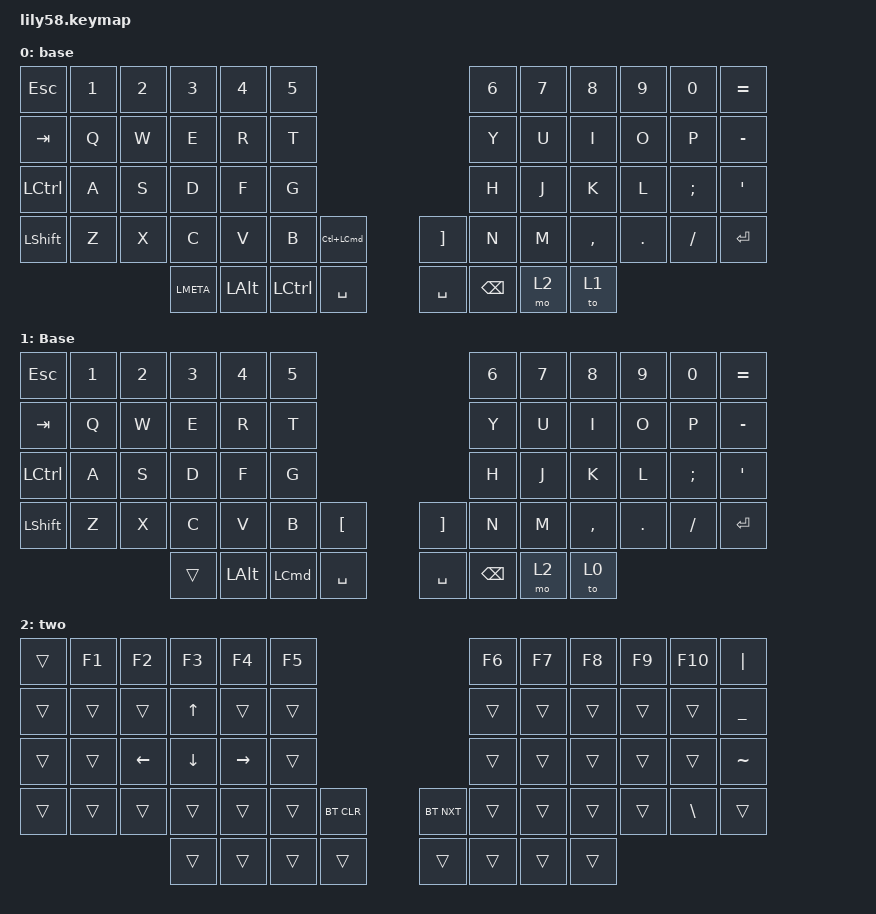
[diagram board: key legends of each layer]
/*
 * Copyright (c) 2020 The ZMK Contributors
 *
 * SPDX-License-Identifier: MIT
 */

#include <behaviors.dtsi>
#include <dt-bindings/zmk/bt.h>
#include <dt-bindings/zmk/keys.h>

/ {
    combos {
        compatible = "zmk,combos";

        leftbackspace {
            bindings = <&kp BACKSPACE>;
            key-positions = <37 28>;
        };
    };

    keymap {
        compatible = "zmk,keymap";

        zero {
            // ------------------------------------------------------------------------------------------------------------
            // |  ESC  |  1  |  2  |  3   |  4   |  5   |                   |  6   |  7    |  8    |  9   |   0   |   `   |
            // |  TAB  |  Q  |  W  |  E   |  R   |  T   |                   |  Y   |  U    |  I    |  O   |   P   |   -   |
            // |  CTRL |  A  |  S  |  D   |  F   |  G   |                   |  H   |  J    |  K    |  L   |   ;   |   '   |
            // | SHIFT |  Z  |  X  |  C   |  V   |  B   |   "["  |  |  "]"  |  N   |  M    |  ,    |  .   |   /   | SHIFT |
            //                     | ALT  | GUI  | LOWER|  SPACE |  | ENTER | RAISE| BSPC  | GUI   |

            display-name = "base";
            bindings = <
&kp ESC    &kp N1  &kp N2  &kp N3     &kp N4        &kp N5                                               &kp N6         &kp N7  &kp N8     &kp N9   &kp N0    &kp EQUAL
&kp TAB    &kp Q   &kp W   &kp E      &kp R         &kp T                                                &kp Y          &kp U   &kp I      &kp O    &kp P     &kp MINUS
&kp LCTRL  &kp A   &kp S   &kp D      &kp F         &kp G                                                &kp H          &kp J   &kp K      &kp L    &kp SEMI  &kp SQT
&kp LSHFT  &kp Z   &kp X   &kp C      &kp V         &kp B             &kp LC(LEFT_COMMAND)    &kp RBKT   &kp N          &kp M   &kp COMMA  &kp DOT  &kp FSLH  &kp RETURN
                           &kp LMETA  &kp LEFT_ALT  &kp LEFT_CONTROL  &kp SPACE               &kp SPACE  &kp BACKSPACE  &mo 2   &to 1
            >;
        };

        one {
            display-name = "Base";
            bindings = <
&kp ESC    &kp N1  &kp N2  &kp N3  &kp N4        &kp N5                                    &kp N6         &kp N7  &kp N8     &kp N9   &kp N0    &kp EQUAL
&kp TAB    &kp Q   &kp W   &kp E   &kp R         &kp T                                     &kp Y          &kp U   &kp I      &kp O    &kp P     &kp MINUS
&kp LCTRL  &kp A   &kp S   &kp D   &kp F         &kp G                                     &kp H          &kp J   &kp K      &kp L    &kp SEMI  &kp SQT
&kp LSHFT  &kp Z   &kp X   &kp C   &kp V         &kp B             &kp LBKT     &kp RBKT   &kp N          &kp M   &kp COMMA  &kp DOT  &kp FSLH  &kp ENTER
                           &trans  &kp LEFT_ALT  &kp LEFT_COMMAND  &kp SPACE    &kp SPACE  &kp BACKSPACE  &mo 2   &to 0
            >;
        };

        two {
            bindings = <
&trans  &kp F1  &kp F2          &kp F3          &kp F4           &kp F5                            &kp F6  &kp F7  &kp F8  &kp F9  &kp F10        &kp PIPE
&trans  &trans  &trans          &kp UP_ARROW    &trans           &trans                            &trans  &trans  &trans  &trans  &trans         &kp UNDER
&trans  &trans  &kp LEFT_ARROW  &kp DOWN_ARROW  &kp RIGHT_ARROW  &trans                            &trans  &trans  &trans  &trans  &trans         &kp TILDE
&trans  &trans  &trans          &trans          &trans           &trans  &bt BT_CLR    &bt BT_NXT  &trans  &trans  &trans  &trans  &kp BACKSLASH  &trans
                                &trans          &trans           &trans  &trans        &trans      &trans  &trans  &trans
            >;
        };
    };
};
